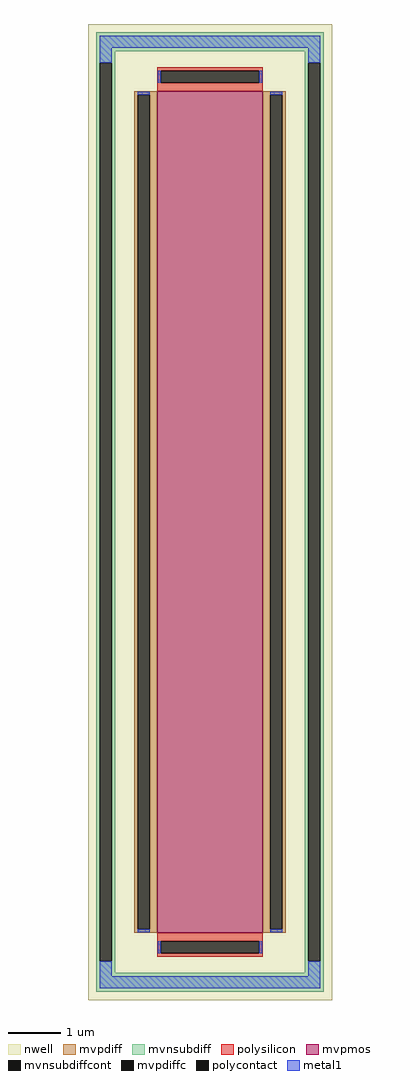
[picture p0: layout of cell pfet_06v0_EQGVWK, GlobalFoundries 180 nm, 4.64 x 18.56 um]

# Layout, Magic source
magic
tech gf180mcuD
magscale 1 10
<< nwell >>
rect -464 -1856 464 1856
<< mvpmos >>
rect -200 -1600 200 1600
<< mvpdiff >>
rect -288 1587 -200 1600
rect -288 -1587 -275 1587
rect -229 -1587 -200 1587
rect -288 -1600 -200 -1587
rect 200 1587 288 1600
rect 200 -1587 229 1587
rect 275 -1587 288 1587
rect 200 -1600 288 -1587
<< mvpdiffc >>
rect -275 -1587 -229 1587
rect 229 -1587 275 1587
<< mvnsubdiff >>
rect -432 1752 432 1824
rect -432 1708 -360 1752
rect -432 -1708 -419 1708
rect -373 -1708 -360 1708
rect 360 1708 432 1752
rect -432 -1752 -360 -1708
rect 360 -1708 373 1708
rect 419 -1708 432 1708
rect 360 -1752 432 -1708
rect -432 -1824 432 -1752
<< mvnsubdiffcont >>
rect -419 -1708 -373 1708
rect 373 -1708 419 1708
<< polysilicon >>
rect -200 1679 200 1692
rect -200 1633 -187 1679
rect 187 1633 200 1679
rect -200 1600 200 1633
rect -200 -1633 200 -1600
rect -200 -1679 -187 -1633
rect 187 -1679 200 -1633
rect -200 -1692 200 -1679
<< polycontact >>
rect -187 1633 187 1679
rect -187 -1679 187 -1633
<< metal1 >>
rect -419 1765 419 1811
rect -419 1708 -373 1765
rect 373 1708 419 1765
rect -198 1633 -187 1679
rect 187 1633 198 1679
rect -275 1587 -229 1598
rect -275 -1598 -229 -1587
rect 229 1587 275 1598
rect 229 -1598 275 -1587
rect -198 -1679 -187 -1633
rect 187 -1679 198 -1633
rect -419 -1765 -373 -1708
rect 373 -1765 419 -1708
rect -419 -1811 419 -1765
<< properties >>
string FIXED_BBOX -396 -1788 396 1788
string gencell pfet_06v0
string library gf180mcu
string parameters w 16.0 l 2.0 m 1 nf 1 diffcov 100 polycov 100 guard 1 glc 1 grc 1 gtc 0 gbc 0 tbcov 100 rlcov 100 topc 1 botc 1 poverlap 0 doverlap 1 lmin 0.5 wmin 0.3 class mosfet full_metal 1 compatible {pfet_03v3 pfet_06v0}
<< end >>
